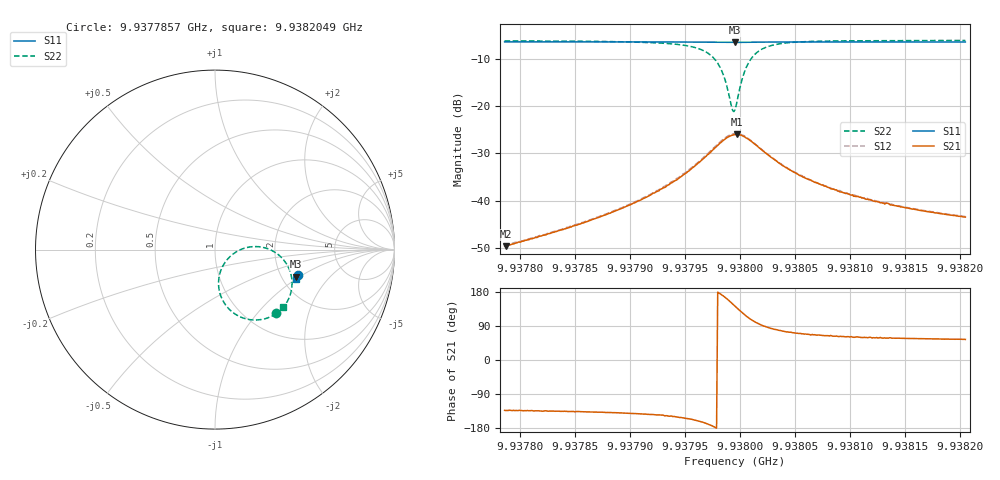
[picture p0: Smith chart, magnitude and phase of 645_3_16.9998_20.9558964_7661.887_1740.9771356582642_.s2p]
#  HZ  S  RI  R  50.00
! Rohde & Schwarz Vector Network Analyzer
! Rohde-Schwarz,ZNB20-2Port,1311601062101988,3.16
! Created: UTC 3/20/2024, 11:21:01 PM
! freq[Hz]  re:S11  im:S11  re:S21  im:S21  re:S12  im:S12  re:S22  im:S22
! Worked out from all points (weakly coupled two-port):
!   401 points, 9.9377857 GHz to 9.9382049 GHz, reference 50 ohm
!   highest |S21| = -25.97 dB at 9.9379974 GHz (marker M1); lowest = -49.6 dB at 9.9377867 GHz (marker M2)
!   lowest |S11| = -6.5 dB at 9.9379953 GHz (marker M3), VSWR 2.81, Z = 119 - j46.4 ohm
!   |S11| at or under -10 dB: nowhere
!   |S22| runs from -21.1 to -6.1 dB; largest |S21 - S12| = 0.0023
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9.93778568e9  0.4606 -0.1402  -0.00226 -0.00243  -0.00233 -0.0024  0.3421 -0.3553
9.93778673e9  0.4606 -0.1404  -0.00226 -0.0024  -0.0023 -0.00241  0.3418 -0.3555
9.9378559e9  0.4586 -0.1452  -0.00418 -0.00398  -0.00431 -0.00398  0.3212 -0.3683
9.93789468e9  0.4575 -0.1478  -0.00655 -0.00549  -0.00674 -0.00548  0.298 -0.3788
9.93792613e9  0.4561 -0.1502  -0.0104 -0.00731  -0.0108 -0.00733  0.2612 -0.3891
9.93795652e9  0.4543 -0.1525  -0.0205 -0.00873  -0.021 -0.00849  0.1785 -0.387
9.93797329e9  0.4525 -0.1535  -0.0324 -0.00451  -0.0336 -0.0041  0.0836 -0.3364
9.93798273e9  0.4509 -0.1533  -0.0412 0.00527  -0.0424 0.00652  0.0274 -0.2435
9.93798692e9  0.4502 -0.1526  -0.0438 0.0126  -0.0447 0.0143  0.0198 -0.1788
9.93799216e9  0.45 -0.1515  -0.0429 0.024  -0.043 0.026  0.0455 -0.088
9.93799426e9  0.4501 -0.1511  -0.0411 0.0286  -0.0411 0.0306  0.0688 -0.0546
9.9379953e9  0.4501 -0.1509  -0.0397 0.0307  -0.0393 0.0329  0.0834 -0.0391
9.9379974e9  0.4504 -0.1506  -0.0364 0.0347  -0.036 0.0366  0.1158 -0.0142
9.93800159e9  0.451 -0.1499  -0.0285 0.04  -0.0274 0.0415  0.1895 0.014
9.93800579e9  0.452 -0.1498  -0.0196 0.0417  -0.0185 0.0432  0.261 0.0138
9.93800998e9  0.4527 -0.15  -0.0122 0.0408  -0.0108 0.0419  0.3188 -0.00599
9.93801627e9  0.4536 -0.1505  -0.00416 0.037  -0.00303 0.0375  0.376 -0.05
9.93803304e9  0.4545 -0.1528  0.00462 0.026  0.00519 0.0259  0.4264 -0.1531
9.93806553e9  0.454 -0.1561  0.00619 0.0149  0.00683 0.0148  0.4217 -0.2436
9.93810221e9  0.453 -0.159  0.00571 0.01  0.00576 0.00996  0.4063 -0.2829
9.93813575e9  0.4523 -0.1614  0.00478 0.00784  0.00509 0.00777  0.3958 -0.3007
9.93820493e9  0.4502 -0.1663  0.00391 0.00545  0.00404 0.00545  0.3812 -0.3205
